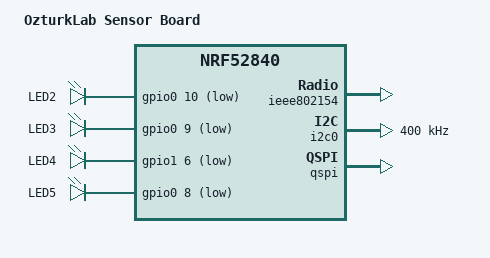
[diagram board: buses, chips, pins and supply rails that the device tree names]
/dts-v1/;

#include <nordic/nrf52840_qfaa.dtsi>
#include <zephyr/dt-bindings/gpio/gpio.h>
#include "OzturkLab-pinctrl.dtsi"
#include <zephyr/dt-bindings/i2c/i2c.h>

/ {
	model = "OzturkLab Sensor Board";
	compatible = "Ozturk,OzturkLab";

	chosen {
		zephyr,sram = &sram0;
		zephyr,flash = &flash0;
		zephyr,code-partition = &slot0_partition;
		zephyr,ieee802154 = &ieee802154;
	};

	leds {
		compatible = "gpio-leds";

		led2: led_2 {
			gpios = <&gpio0 10 GPIO_ACTIVE_LOW>;
			label = "LED2";
		};

		led3: led_3 {
			gpios = <&gpio0 9 GPIO_ACTIVE_LOW>;
			label = "LED3";
		};

		led4: led_4 {
			gpios = <&gpio1 6 GPIO_ACTIVE_LOW>;
			label = "LED4";
		};
		led5: led_5 {
			gpios = <&gpio0 8 GPIO_ACTIVE_LOW>;
			label = "LED5";
		};

	};

	aliases {
		led0 = &led2;
		led1 = &led3;
		led2 = &led4;
		led3 = &led5;
	};
};

&gpiote {
	status = "okay";
};

&gpio0 {
	status = "okay";
};

&gpio1 {
	status = "okay";
};

&ieee802154 {
	status = "okay";
};

&flash0 {
	partitions {
		#address-cells = <1>;
		#size-cells = <1>;
		ranges;

		boot_partition: partition@0 {
			compatible = "zephyr,mapped-partition";
			label = "mcuboot";
			reg = <0x0 DT_SIZE_K(48)>;
		};

		slot0_partition: partition@c000 {
			compatible = "zephyr,mapped-partition";
			label = "image-0";
			reg = <0xc000 DT_SIZE_K(472)>;
		};

		slot1_partition: partition@82000 {
			compatible = "zephyr,mapped-partition";
			label = "image-1";
			reg = <0x82000 DT_SIZE_K(472)>;
		};

		storage_partition: partition@f8000 {
			compatible = "zephyr,mapped-partition";
			label = "storage";
			reg = <0xf8000 DT_SIZE_K(32)>;
		};
	};
};

&i2c0 {
	compatible = "nordic,nrf-twim";
	status = "okay";

	pinctrl-0 = <&i2c0_default>;
	pinctrl-1 = <&i2c0_sleep>;
	pinctrl-names = "default", "sleep";

	clock-frequency = <I2C_BITRATE_FAST>;


};



&qspi {
	status = "okay";

	pinctrl-0 = <&qspi_default>;
	pinctrl-1 = <&qspi_sleep>;
	pinctrl-names = "default", "sleep";
};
